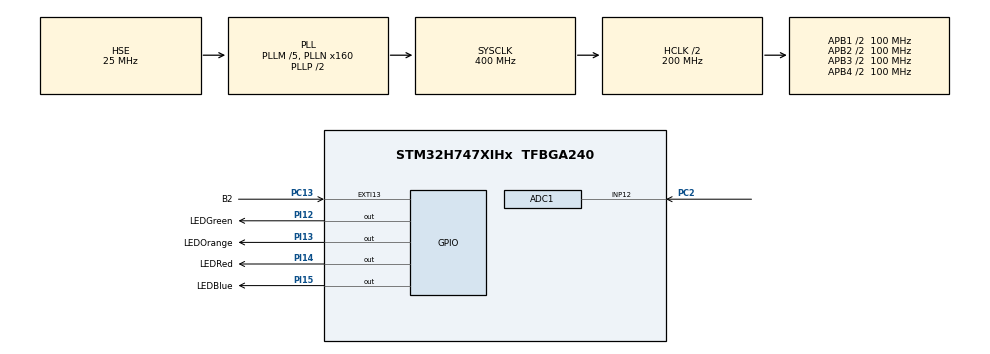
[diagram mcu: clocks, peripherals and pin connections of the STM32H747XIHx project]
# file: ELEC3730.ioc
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ADC1.Channel-3\#ChannelRegularConversion=ADC_CHANNEL_12
ADC1.ConversionDataManagement=ADC_CONVERSIONDATA_DMA_CIRCULAR
ADC1.ExternalTrigConv=ADC_EXTERNALTRIG_T3_TRGO
ADC1.NbrOfConversionFlag=1
ADC1.OffsetNumber-3\#ChannelRegularConversion=ADC_OFFSET_NONE
ADC1.OffsetSignedSaturation-3\#ChannelRegularConversion=DISABLE
ADC1.Rank-3\#ChannelRegularConversion=1
ADC1.SamplingTime-3\#ChannelRegularConversion=ADC_SAMPLETIME_1CYCLE_5
ADC1.master=1
CortexM4.IPs=BDMA,DMA,FATFS_M4\:I,FREERTOS_M4\:I,IWDG2\:I,MDMA,NVIC2\:I,RCC,USB_DEVICE_M4\:I,USB_HOST_M4\:I,WWDG2\:I,USART1,USB_OTG_HS\:I,SPI2\:I,ADC3\:I,FMC\:I,QUADSPI\:I,SAI1\:I,ETH\:I,SPI5\:I,TIM8\:I,UART8\:I,DCMI\:I,RTC\:I,SDMMC1\:I,SPDIFRX1\:I,HDMI_CEC\:I,TIM13\:I,TIM3,DEBUG,PDM2PCM_M4\:I,PWR,RESMGR_UTILITY,SYS_M4\:I,CORTEX_M4\:I,OPENAMP_M4\:I,VREFBUF,GPIO
CortexM7.IPs=BDMA\:I,DMA\:I,FATFS_M7\:I,FREERTOS_M7\:I,IWDG1\:I,MDMA\:I,NVIC1\:I,RCC\:I,USB_DEVICE_M7\:I,USB_HOST_M7\:I,WWDG1\:I,USART1\:I,CORTEX_M7\:I,DEBUG\:I,PDM2PCM_M7\:I,PWR\:I,RESMGR_UTILITY\:I,SYS\:I,OPENAMP_M7\:I,VREFBUF\:I,GPIO\:I,MEMORYMAP\:I,TIM2\:I,ADC1\:I,TIM3\:I
CortexM7.Pins=PC13,PI12,PI13,PI14,PI15
Dma.ADC1.0.Direction=DMA_PERIPH_TO_MEMORY
Dma.ADC1.0.EventEnable=DISABLE
Dma.ADC1.0.FIFOMode=DMA_FIFOMODE_DISABLE
Dma.ADC1.0.Instance=DMA1_Stream0
Dma.ADC1.0.MemDataAlignment=DMA_MDATAALIGN_WORD
Dma.ADC1.0.MemInc=DMA_MINC_DISABLE
Dma.ADC1.0.Mode=DMA_CIRCULAR
Dma.ADC1.0.PeriphDataAlignment=DMA_PDATAALIGN_WORD
Dma.ADC1.0.PeriphInc=DMA_PINC_DISABLE
Dma.ADC1.0.Polarity=HAL_DMAMUX_REQ_GEN_RISING
Dma.ADC1.0.Priority=DMA_PRIORITY_LOW
Dma.ADC1.0.RequestNumber=1
Dma.ADC1.0.SignalID=NONE
Dma.ADC1.0.SyncEnable=DISABLE
Dma.ADC1.0.SyncPolarity=HAL_DMAMUX_SYNC_NO_EVENT
Dma.ADC1.0.SyncRequestNumber=1
Dma.ADC1.0.SyncSignalID=NONE
Dma.Request0=ADC1
Mcu.Family=STM32H7
Mcu.Name=STM32H747XIHx
Mcu.Package=TFBGA240
NVIC1.ADC_IRQn=true\:0\:0\:false\:false\:true\:true\:true\:true
NVIC1.DMA1_Stream0_IRQn=true\:0\:0\:false\:false\:true\:false\:true\:true
NVIC1.EXTI15_10_IRQn=true\:0\:0\:false\:false\:true\:true\:true\:true
NVIC1.PriorityGroup=NVIC_PRIORITYGROUP_4
NVIC1.TIM2_IRQn=true\:0\:0\:false\:false\:true\:true\:true\:true
NVIC1.TIM3_IRQn=true\:0\:0\:false\:false\:true\:true\:true\:true
NVIC2.PriorityGroup=NVIC_PRIORITYGROUP_4
PC13.GPIO_Label=B2
PC13.GPIO_PuPd=GPIO_PULLDOWN
PC13.PinAttribute=CortexM7
PC13.Signal=GPXTI13
PC2.PinAttribute=CortexM7
PC2.Signal=ADCx_INP12
PH0-OSC_IN\ (PH0).Mode=HSE-External-Oscillator
PH0-OSC_IN\ (PH0).PinAttribute=Free
PH0-OSC_IN\ (PH0).Signal=RCC_OSC_IN
PH1-OSC_OUT\ (PH1).Mode=HSE-External-Oscillator
PH1-OSC_OUT\ (PH1).PinAttribute=Free
PH1-OSC_OUT\ (PH1).Signal=RCC_OSC_OUT
PI12.GPIO_Label=LEDGreen
PI12.PinAttribute=CortexM7
PI12.Signal=GPIO_Output
PI13.GPIO_Label=LEDOrange
PI13.PinAttribute=CortexM7
PI13.Signal=GPIO_Output
PI14.GPIO_Label=LEDRed
PI14.PinAttribute=CortexM7
PI14.Signal=GPIO_Output
PI15.GPIO_Label=LEDBlue
PI15.PinAttribute=CortexM7
PI15.Signal=GPIO_Output
ProjectManager.HeapSize=M4-0x200,M7-0x200
ProjectManager.StackSize=M4-0x400,M7-0x400
ProjectManager.TargetToolchain=STM32CubeIDE
RCC.ADCFreq_Value=75000000
RCC.APB1Freq_Value=100000000
RCC.APB2Freq_Value=100000000
RCC.APB3Freq_Value=100000000
RCC.APB4Freq_Value=100000000
RCC.CortexFreq_Value=400000000
RCC.D1PPRE=RCC_APB3_DIV2
RCC.D2PPRE1=RCC_APB1_DIV2
RCC.D2PPRE2=RCC_APB2_DIV2
RCC.D3PPRE=RCC_APB4_DIV2
RCC.DIVM1=5
RCC.DIVM2=2
RCC.DIVN1=160
RCC.DIVN2=12
RCC.DIVQ1=5
RCC.HCLKFreq_Value=200000000
RCC.HPRE=RCC_HCLK_DIV2
RCC.PLL2FRACN=0
RCC.PLL3FRACN=0
RCC.PLLFRACN=0
RCC.PLLSourceVirtual=RCC_PLLSOURCE_HSE
RCC.PWR_Regulator_Voltage_Scale=PWR_REGULATOR_VOLTAGE_SCALE1
RCC.SYSCLKFreq_VALUE=400000000
RCC.SYSCLKSource=RCC_SYSCLKSOURCE_PLLCLK
RCC.SupplySource=PWR_DIRECT_SMPS_SUPPLY
RCC.USBFreq_Value=160000000
SH.ADCx_INP12.0=ADC1_INP12,IN12-Single-Ended
TIM2.Period=9001
TIM2.Prescaler=10000
TIM2.TIM_MasterOutputTrigger=TIM_TRGO_RESET
TIM3.Period=10000
TIM3.Prescaler=20000
TIM3.TIM_MasterOutputTrigger=TIM_TRGO_UPDATE
VP_MEMORYMAP_VS_MEMORYMAP.Mode=CurAppReg
VP_SYS_M4_VS_Systick.Mode=SysTick
VP_TIM2_VS_ClockSourceINT.Mode=Internal
VP_TIM3_VS_ClockSourceINT.Mode=Internal
board=STM32H747I-DISCO

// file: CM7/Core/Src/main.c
/* USER CODE BEGIN Header */
/**
  ******************************************************************************
  * @file           : main.c
  * @brief          : Main program body
  ******************************************************************************
  * @attention
  *
  * Copyright (c) 2025 STMicroelectronics.
  * All rights reserved.
  *
  * This software is licensed under terms that can be found in the LICENSE file
  * in the root directory of this software component.
  * If no LICENSE file comes with this software, it is provided AS-IS.
  *
  ******************************************************************************
  */
/* USER CODE END Header */
#include "main.h"

/* USER CODE BEGIN Includes */
#include <stdio.h>
/* USER CODE END Includes */

/* USER CODE BEGIN PD */

#ifndef HSEM_ID_0
#define HSEM_ID_0 (0U) /* HW semaphore 0*/
#endif

/* USER CODE END PD */

ADC_HandleTypeDef hadc1;
DMA_HandleTypeDef hdma_adc1;

TIM_HandleTypeDef htim2;
TIM_HandleTypeDef htim3;

/* USER CODE BEGIN PV */
TIM_HandleTypeDef htim2;
/* USER CODE END PV */

void SystemClock_Config(void);
static void MX_GPIO_Init(void);
static void MX_DMA_Init(void);
static void MX_TIM2_Init(void);
static void MX_ADC1_Init(void);
static void MX_TIM3_Init(void);
/* USER CODE BEGIN PFP */
extern void initialise_monitor_handles(void);
/* USER CODE END PFP */

/* USER CODE BEGIN 0 */

uint16_t flagA = 0;
uint16_t count = 0;
uint32_t value;
uint16_t loop = 0;
uint16_t adcFlag = 0;

void HAL_ADC_ConvCpltCallback(ADC_HandleTypeDef* hadc) {
	++loop;
	adcFlag = 1;
}

void HAL_GPIO_EXTI_Callback(uint16_t GPIO_Pin)
{
	if(GPIO_Pin == B2_Pin){
		HAL_GPIO_TogglePin(LEDBlue_GPIO_Port, LEDBlue_Pin);
	}

}

void HAL_TIM_PeriodElapsedCallback(TIM_HandleTypeDef *htim)
{
	if(htim->Instance == TIM2){
		flagA = 1;
	}

}
/* USER CODE END 0 */

int main(void)
{

	/* USER CODE BEGIN 1 */
	initialise_monitor_handles();
	/* USER CODE END 1 */
	/* USER CODE BEGIN Boot_Mode_Sequence_0 */
	/* USER CODE END Boot_Mode_Sequence_0 */

	/* USER CODE BEGIN Boot_Mode_Sequence_1 */
	/* USER CODE END Boot_Mode_Sequence_1 */
	/* MCU Configuration--------------------------------------------------------*/

	/* Reset of all peripherals, Initializes the Flash interface and the Systick. */
	HAL_Init();

	/* Configure the system clock */
	SystemClock_Config();
	/* USER CODE BEGIN Boot_Mode_Sequence_2 */
	/* USER CODE END Boot_Mode_Sequence_2 */

	/* Initialize all configured peripherals */
	MX_GPIO_Init();
	MX_DMA_Init();
	MX_TIM2_Init();
	MX_ADC1_Init();
	MX_TIM3_Init();
	/* USER CODE BEGIN 2 */
	HAL_TIM_Base_Start_IT(&htim2);
	HAL_TIM_Base_Start(&htim3);
	HAL_ADC_Start_DMA(&hadc1, &value, 1);

	/* USER CODE END 2 */

	/* Infinite loop */
	/* USER CODE BEGIN WHILE */
	while (1)
	{
		if (adcFlag == 1) {
			adcFlag = 0;
			printf ("DMA IT: Got %4lu at Loop = %u\n", value, loop);
		}

		if(flagA){
			// Toggle LEDOrange when interrupt triggered by TIM2
			HAL_GPIO_TogglePin(LEDOrange_GPIO_Port, LEDOrange_Pin);
			flagA = 0;
			count++;
		}
    /* USER CODE END WHILE */

	}
}

void SystemClock_Config(void)
{
  RCC_OscInitTypeDef RCC_OscInitStruct = {0};
  RCC_ClkInitTypeDef RCC_ClkInitStruct = {0};

  /** Supply configuration update enable
  */
  HAL_PWREx_ConfigSupply(PWR_DIRECT_SMPS_SUPPLY);

  /** Configure the main internal regulator output voltage
  */
  __HAL_PWR_VOLTAGESCALING_CONFIG(PWR_REGULATOR_VOLTAGE_SCALE1);

  while(!__HAL_PWR_GET_FLAG(PWR_FLAG_VOSRDY)) {}

  /** Initializes the RCC Oscillators according to the specified parameters
  * in the RCC_OscInitTypeDef structure.
  */
  RCC_OscInitStruct.OscillatorType = RCC_OSCILLATORTYPE_HSE;
  RCC_OscInitStruct.HSEState = RCC_HSE_ON;
  RCC_OscInitStruct.PLL.PLLState = RCC_PLL_ON;
  RCC_OscInitStruct.PLL.PLLSource = RCC_PLLSOURCE_HSE;
  RCC_OscInitStruct.PLL.PLLM = 5;
  RCC_OscInitStruct.PLL.PLLN = 160;
  RCC_OscInitStruct.PLL.PLLP = 2;
  RCC_OscInitStruct.PLL.PLLQ = 5;
  RCC_OscInitStruct.PLL.PLLR = 2;
  RCC_OscInitStruct.PLL.PLLRGE = RCC_PLL1VCIRANGE_2;
  RCC_OscInitStruct.PLL.PLLVCOSEL = RCC_PLL1VCOWIDE;
  RCC_OscInitStruct.PLL.PLLFRACN = 0;
  if (HAL_RCC_OscConfig(&RCC_OscInitStruct) != HAL_OK)
  {
    Error_Handler();
  }

  /** Initializes the CPU, AHB and APB buses clocks
  */
  RCC_ClkInitStruct.ClockType = RCC_CLOCKTYPE_HCLK|RCC_CLOCKTYPE_SYSCLK
                              |RCC_CLOCKTYPE_PCLK1|RCC_CLOCKTYPE_PCLK2
                              |RCC_CLOCKTYPE_D3PCLK1|RCC_CLOCKTYPE_D1PCLK1;
  RCC_ClkInitStruct.SYSCLKSource = RCC_SYSCLKSOURCE_PLLCLK;
  RCC_ClkInitStruct.SYSCLKDivider = RCC_SYSCLK_DIV1;
  RCC_ClkInitStruct.AHBCLKDivider = RCC_HCLK_DIV2;
  RCC_ClkInitStruct.APB3CLKDivider = RCC_APB3_DIV2;
  RCC_ClkInitStruct.APB1CLKDivider = RCC_APB1_DIV2;
  RCC_ClkInitStruct.APB2CLKDivider = RCC_APB2_DIV2;
  RCC_ClkInitStruct.APB4CLKDivider = RCC_APB4_DIV2;

  if (HAL_RCC_ClockConfig(&RCC_ClkInitStruct, FLASH_LATENCY_2) != HAL_OK)
  {
    Error_Handler();
  }
}

static void MX_ADC1_Init(void)
{

  ADC_MultiModeTypeDef multimode = {0};
  ADC_ChannelConfTypeDef sConfig = {0};

  /** Common config
  */
  hadc1.Instance = ADC1;
  hadc1.Init.ClockPrescaler = ADC_CLOCK_ASYNC_DIV1;
  hadc1.Init.Resolution = ADC_RESOLUTION_16B;
  hadc1.Init.ScanConvMode = ADC_SCAN_DISABLE;
  hadc1.Init.EOCSelection = ADC_EOC_SINGLE_CONV;
  hadc1.Init.LowPowerAutoWait = DISABLE;
  hadc1.Init.ContinuousConvMode = DISABLE;
  hadc1.Init.NbrOfConversion = 1;
  hadc1.Init.DiscontinuousConvMode = DISABLE;
  hadc1.Init.ExternalTrigConv = ADC_EXTERNALTRIG_T3_TRGO;
  hadc1.Init.ExternalTrigConvEdge = ADC_EXTERNALTRIGCONVEDGE_RISING;
  hadc1.Init.ConversionDataManagement = ADC_CONVERSIONDATA_DMA_CIRCULAR;
  hadc1.Init.Overrun = ADC_OVR_DATA_PRESERVED;
  hadc1.Init.LeftBitShift = ADC_LEFTBITSHIFT_NONE;
  hadc1.Init.OversamplingMode = DISABLE;
  hadc1.Init.Oversampling.Ratio = 1;
  if (HAL_ADC_Init(&hadc1) != HAL_OK)
  {
    Error_Handler();
  }

  /** Configure the ADC multi-mode
  */
  multimode.Mode = ADC_MODE_INDEPENDENT;
  if (HAL_ADCEx_MultiModeConfigChannel(&hadc1, &multimode) != HAL_OK)
  {
    Error_Handler();
  }

  /** Configure Regular Channel
  */
  sConfig.Channel = ADC_CHANNEL_12;
  sConfig.Rank = ADC_REGULAR_RANK_1;
  sConfig.SamplingTime = ADC_SAMPLETIME_1CYCLE_5;
  sConfig.SingleDiff = ADC_SINGLE_ENDED;
  sConfig.OffsetNumber = ADC_OFFSET_NONE;
  sConfig.Offset = 0;
  sConfig.OffsetSignedSaturation = DISABLE;
  if (HAL_ADC_ConfigChannel(&hadc1, &sConfig) != HAL_OK)
  {
    Error_Handler();
  }

}

static void MX_TIM2_Init(void)
{

  TIM_ClockConfigTypeDef sClockSourceConfig = {0};
  TIM_MasterConfigTypeDef sMasterConfig = {0};

  htim2.Instance = TIM2;
  htim2.Init.Prescaler = 10000;
  htim2.Init.CounterMode = TIM_COUNTERMODE_UP;
  htim2.Init.Period = 9001;
  htim2.Init.ClockDivision = TIM_CLOCKDIVISION_DIV1;
  htim2.Init.AutoReloadPreload = TIM_AUTORELOAD_PRELOAD_DISABLE;
  if (HAL_TIM_Base_Init(&htim2) != HAL_OK)
  {
    Error_Handler();
  }
  sClockSourceConfig.ClockSource = TIM_CLOCKSOURCE_INTERNAL;
  if (HAL_TIM_ConfigClockSource(&htim2, &sClockSourceConfig) != HAL_OK)
  {
    Error_Handler();
  }
  sMasterConfig.MasterOutputTrigger = TIM_TRGO_RESET;
  sMasterConfig.MasterSlaveMode = TIM_MASTERSLAVEMODE_DISABLE;
  if (HAL_TIMEx_MasterConfigSynchronization(&htim2, &sMasterConfig) != HAL_OK)
  {
    Error_Handler();
  }

}

static void MX_TIM3_Init(void)
{

  TIM_ClockConfigTypeDef sClockSourceConfig = {0};
  TIM_MasterConfigTypeDef sMasterConfig = {0};

  htim3.Instance = TIM3;
  htim3.Init.Prescaler = 20000;
  htim3.Init.CounterMode = TIM_COUNTERMODE_UP;
  htim3.Init.Period = 10000;
  htim3.Init.ClockDivision = TIM_CLOCKDIVISION_DIV1;
  htim3.Init.AutoReloadPreload = TIM_AUTORELOAD_PRELOAD_DISABLE;
  if (HAL_TIM_Base_Init(&htim3) != HAL_OK)
  {
    Error_Handler();
  }
  sClockSourceConfig.ClockSource = TIM_CLOCKSOURCE_INTERNAL;
  if (HAL_TIM_ConfigClockSource(&htim3, &sClockSourceConfig) != HAL_OK)
  {
    Error_Handler();
  }
  sMasterConfig.MasterOutputTrigger = TIM_TRGO_UPDATE;
  sMasterConfig.MasterSlaveMode = TIM_MASTERSLAVEMODE_DISABLE;
  if (HAL_TIMEx_MasterConfigSynchronization(&htim3, &sMasterConfig) != HAL_OK)
  {
    Error_Handler();
  }

}

static void MX_DMA_Init(void)
{

  /* DMA controller clock enable */
  __HAL_RCC_DMA1_CLK_ENABLE();

  /* DMA interrupt init */
  /* DMA1_Stream0_IRQn interrupt configuration */
  HAL_NVIC_SetPriority(DMA1_Stream0_IRQn, 0, 0);
  HAL_NVIC_EnableIRQ(DMA1_Stream0_IRQn);

}

static void MX_GPIO_Init(void)
{
  GPIO_InitTypeDef GPIO_InitStruct = {0};

  /* GPIO Ports Clock Enable */
  __HAL_RCC_GPIOC_CLK_ENABLE();
  __HAL_RCC_GPIOI_CLK_ENABLE();

  /*Configure GPIO pin Output Level */
  HAL_GPIO_WritePin(GPIOI, LEDGreen_Pin|LEDOrange_Pin|LEDRed_Pin|LEDBlue_Pin, GPIO_PIN_RESET);

  /*Configure GPIO pin : B2_Pin */
  GPIO_InitStruct.Pin = B2_Pin;
  GPIO_InitStruct.Mode = GPIO_MODE_IT_RISING;
  GPIO_InitStruct.Pull = GPIO_PULLDOWN;
  HAL_GPIO_Init(B2_GPIO_Port, &GPIO_InitStruct);

  /*Configure GPIO pins : LEDGreen_Pin LEDOrange_Pin LEDRed_Pin LEDBlue_Pin */
  GPIO_InitStruct.Pin = LEDGreen_Pin|LEDOrange_Pin|LEDRed_Pin|LEDBlue_Pin;
  GPIO_InitStruct.Mode = GPIO_MODE_OUTPUT_PP;
  GPIO_InitStruct.Pull = GPIO_NOPULL;
  GPIO_InitStruct.Speed = GPIO_SPEED_FREQ_LOW;
  HAL_GPIO_Init(GPIOI, &GPIO_InitStruct);

  /* EXTI interrupt init*/
  HAL_NVIC_SetPriority(B2_EXTI_IRQn, 0, 0);
  HAL_NVIC_EnableIRQ(B2_EXTI_IRQn);

}

void Error_Handler(void)
{
  __disable_irq();
  while (1)
  {
  }
}
